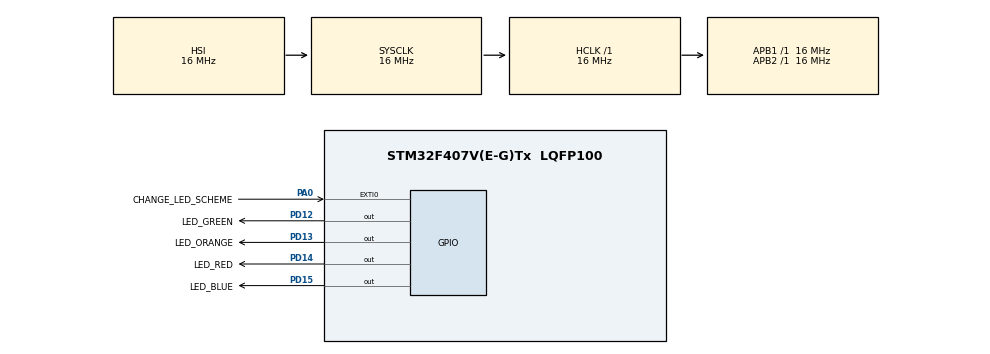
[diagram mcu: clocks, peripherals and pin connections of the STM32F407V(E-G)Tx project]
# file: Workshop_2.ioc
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Mcu.Family=STM32F4
Mcu.Name=STM32F407V(E-G)Tx
Mcu.Package=LQFP100
NVIC.EXTI0_IRQn=true\:0\:0\:false\:false\:true\:true\:true\:true
NVIC.PriorityGroup=NVIC_PRIORITYGROUP_4
PA0-WKUP.GPIO_Label=CHANGE_LED_SCHEME
PA0-WKUP.GPIO_ModeDefaultEXTI=GPIO_MODE_IT_RISING
PA0-WKUP.Signal=GPXTI0
PD12.GPIO_Label=LED_GREEN
PD12.Signal=GPIO_Output
PD13.GPIO_Label=LED_ORANGE
PD13.Signal=GPIO_Output
PD14.GPIO_Label=LED_RED
PD14.Signal=GPIO_Output
PD15.GPIO_Label=LED_BLUE
PD15.Signal=GPIO_Output
ProjectManager.HeapSize=0x200
ProjectManager.StackSize=0x400
ProjectManager.TargetToolchain=STM32CubeIDE
RCC.AHBFreq_Value=16000000
RCC.APB1Freq_Value=16000000
RCC.APB2Freq_Value=16000000
RCC.CortexFreq_Value=16000000
RCC.HSE_VALUE=25000000
RCC.HSI_VALUE=16000000
RCC.LSE_VALUE=32768
RCC.SYSCLKFreq_VALUE=16000000
RCC.VCOOutputFreq_Value=192000000
board=custom

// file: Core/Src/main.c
/* USER CODE BEGIN Header */
/**
  ******************************************************************************
  * @file           : main.c
  * @brief          : Main program body
  ******************************************************************************
  * @attention
  *
  * Copyright (c) 2024 STMicroelectronics.
  * All rights reserved.
  *
  * This software is licensed under terms that can be found in the LICENSE file
  * in the root directory of this software component.
  * If no LICENSE file comes with this software, it is provided AS-IS.
  *
  ******************************************************************************
  */
/* USER CODE END Header */
#include "main.h"

/* USER CODE BEGIN PD */
#define LED_SWITCH_DELAY	(500)
/* USER CODE END PD */

/* USER CODE BEGIN PV */
unsigned int ledNr = 0;

/* USER CODE END PV */

void SystemClock_Config(void);
static void MX_GPIO_Init(void);
void LED_Scheme_1(void);
void LED_Scheme_2(void);
void LED_Scheme_3(void);
void LED_Scheme_4(void);

int main(void)
{

  /* MCU Configuration--------------------------------------------------------*/

  /* Reset of all peripherals, Initializes the Flash interface and the Systick. */
  HAL_Init();

  /* Configure the system clock */
  SystemClock_Config();

  /* Initialize all configured peripherals */
  MX_GPIO_Init();

  /* Infinite loop */
  /* USER CODE BEGIN WHILE */
  while (1)
  {
	  switch(ledNr)
	  {
	  case 0: LED_Scheme_1();
	  break;
	  case 1: LED_Scheme_2();
	  break;
	  case 2: LED_Scheme_3();
	  break;
	  case 3: LED_Scheme_4();
	  break;
	  }
    /* USER CODE END WHILE */

  }
}

void SystemClock_Config(void)
{
  RCC_OscInitTypeDef RCC_OscInitStruct = {0};
  RCC_ClkInitTypeDef RCC_ClkInitStruct = {0};

  /** Configure the main internal regulator output voltage
  */
  __HAL_RCC_PWR_CLK_ENABLE();
  __HAL_PWR_VOLTAGESCALING_CONFIG(PWR_REGULATOR_VOLTAGE_SCALE1);

  /** Initializes the RCC Oscillators according to the specified parameters
  * in the RCC_OscInitTypeDef structure.
  */
  RCC_OscInitStruct.OscillatorType = RCC_OSCILLATORTYPE_HSI;
  RCC_OscInitStruct.HSIState = RCC_HSI_ON;
  RCC_OscInitStruct.HSICalibrationValue = RCC_HSICALIBRATION_DEFAULT;
  RCC_OscInitStruct.PLL.PLLState = RCC_PLL_NONE;
  if (HAL_RCC_OscConfig(&RCC_OscInitStruct) != HAL_OK)
  {
    Error_Handler();
  }

  /** Initializes the CPU, AHB and APB buses clocks
  */
  RCC_ClkInitStruct.ClockType = RCC_CLOCKTYPE_HCLK|RCC_CLOCKTYPE_SYSCLK
                              |RCC_CLOCKTYPE_PCLK1|RCC_CLOCKTYPE_PCLK2;
  RCC_ClkInitStruct.SYSCLKSource = RCC_SYSCLKSOURCE_HSI;
  RCC_ClkInitStruct.AHBCLKDivider = RCC_SYSCLK_DIV1;
  RCC_ClkInitStruct.APB1CLKDivider = RCC_HCLK_DIV1;
  RCC_ClkInitStruct.APB2CLKDivider = RCC_HCLK_DIV1;

  if (HAL_RCC_ClockConfig(&RCC_ClkInitStruct, FLASH_LATENCY_0) != HAL_OK)
  {
    Error_Handler();
  }
}

static void MX_GPIO_Init(void)
{
  GPIO_InitTypeDef GPIO_InitStruct = {0};

  /* GPIO Ports Clock Enable */
  __HAL_RCC_GPIOA_CLK_ENABLE();
  __HAL_RCC_GPIOD_CLK_ENABLE();

  /*Configure GPIO pin Output Level */
  HAL_GPIO_WritePin(GPIOD, LED_GREEN_Pin|LED_ORANGE_Pin|LED_RED_Pin|LED_BLUE_Pin, GPIO_PIN_RESET);

  /*Configure GPIO pin : CHANGE_LED_SCHEME_Pin */
  GPIO_InitStruct.Pin = CHANGE_LED_SCHEME_Pin;
  GPIO_InitStruct.Mode = GPIO_MODE_IT_RISING;
  GPIO_InitStruct.Pull = GPIO_NOPULL;
  HAL_GPIO_Init(CHANGE_LED_SCHEME_GPIO_Port, &GPIO_InitStruct);

  /*Configure GPIO pins : LED_GREEN_Pin LED_ORANGE_Pin LED_RED_Pin LED_BLUE_Pin */
  GPIO_InitStruct.Pin = LED_GREEN_Pin|LED_ORANGE_Pin|LED_RED_Pin|LED_BLUE_Pin;
  GPIO_InitStruct.Mode = GPIO_MODE_OUTPUT_PP;
  GPIO_InitStruct.Pull = GPIO_NOPULL;
  GPIO_InitStruct.Speed = GPIO_SPEED_FREQ_LOW;
  HAL_GPIO_Init(GPIOD, &GPIO_InitStruct);

  /* EXTI interrupt init*/
HAL_NVIC_SetPriority(EXTI0_IRQn, 0, 0);
HAL_NVIC_EnableIRQ(EXTI0_IRQn);

}

/* USER CODE BEGIN 4 */
void LED_Scheme_1(void)
{
  // Not clockwise pattern
  HAL_GPIO_WritePin(GPIOD, LED_RED_Pin, GPIO_PIN_SET);
  HAL_Delay(LED_SWITCH_DELAY);
  HAL_GPIO_WritePin(GPIOD, LED_RED_Pin, GPIO_PIN_RESET);

  HAL_GPIO_WritePin(GPIOD, LED_ORANGE_Pin, GPIO_PIN_SET);
  HAL_Delay(LED_SWITCH_DELAY);
  HAL_GPIO_WritePin(GPIOD, LED_ORANGE_Pin, GPIO_PIN_RESET);

  HAL_GPIO_WritePin(GPIOD, LED_GREEN_Pin, GPIO_PIN_SET);
  HAL_Delay(LED_SWITCH_DELAY);
  HAL_GPIO_WritePin(GPIOD, LED_GREEN_Pin, GPIO_PIN_RESET);

  HAL_GPIO_WritePin(GPIOD, LED_BLUE_Pin, GPIO_PIN_SET);
  HAL_Delay(LED_SWITCH_DELAY);
  HAL_GPIO_WritePin(GPIOD, LED_BLUE_Pin, GPIO_PIN_RESET);
}
void LED_Scheme_2(void)
{
  // Clockwise pattern
  HAL_GPIO_WritePin(GPIOD, LED_RED_Pin, GPIO_PIN_SET);
  HAL_Delay(LED_SWITCH_DELAY);
  HAL_GPIO_WritePin(GPIOD, LED_RED_Pin, GPIO_PIN_RESET);

  HAL_GPIO_WritePin(GPIOD, LED_BLUE_Pin, GPIO_PIN_SET);
  HAL_Delay(LED_SWITCH_DELAY);
  HAL_GPIO_WritePin(GPIOD, LED_BLUE_Pin, GPIO_PIN_RESET);

  HAL_GPIO_WritePin(GPIOD, LED_GREEN_Pin, GPIO_PIN_SET);
  HAL_Delay(LED_SWITCH_DELAY);
  HAL_GPIO_WritePin(GPIOD, LED_GREEN_Pin, GPIO_PIN_RESET);

  HAL_GPIO_WritePin(GPIOD, LED_ORANGE_Pin, GPIO_PIN_SET);
  HAL_Delay(LED_SWITCH_DELAY);
  HAL_GPIO_WritePin(GPIOD, LED_ORANGE_Pin, GPIO_PIN_RESET);
}
void LED_Scheme_3(void)
{
  // Pattern 1: Red and Blue on
  HAL_GPIO_WritePin(GPIOD, LED_RED_Pin, GPIO_PIN_SET);
  HAL_GPIO_WritePin(GPIOD, LED_BLUE_Pin, GPIO_PIN_SET);
  HAL_Delay(LED_SWITCH_DELAY);
  HAL_GPIO_WritePin(GPIOD, LED_RED_Pin, GPIO_PIN_RESET);
  HAL_GPIO_WritePin(GPIOD, LED_BLUE_Pin, GPIO_PIN_RESET);
  HAL_Delay(LED_SWITCH_DELAY);

  // Pattern 2: Green and Orange on
  HAL_GPIO_WritePin(GPIOD, LED_GREEN_Pin, GPIO_PIN_SET);
  HAL_GPIO_WritePin(GPIOD, LED_ORANGE_Pin, GPIO_PIN_SET);
  HAL_Delay(LED_SWITCH_DELAY);
  HAL_GPIO_WritePin(GPIOD, LED_GREEN_Pin, GPIO_PIN_RESET);
  HAL_GPIO_WritePin(GPIOD, LED_ORANGE_Pin, GPIO_PIN_RESET);
  HAL_Delay(LED_SWITCH_DELAY);
}
void LED_Scheme_4(void)
{
  // All LEDs on
  HAL_GPIO_WritePin(GPIOD, LED_RED_Pin | LED_GREEN_Pin | LED_BLUE_Pin | LED_ORANGE_Pin, GPIO_PIN_SET);
  HAL_Delay(LED_SWITCH_DELAY);

  // All LEDs off
  HAL_GPIO_WritePin(GPIOD, LED_RED_Pin | LED_GREEN_Pin | LED_BLUE_Pin | LED_ORANGE_Pin, GPIO_PIN_RESET);
  HAL_Delay(LED_SWITCH_DELAY);
}
/* USER CODE END 4 */

void Error_Handler(void)
{
  __disable_irq();
  while (1)
  {
  }
}
